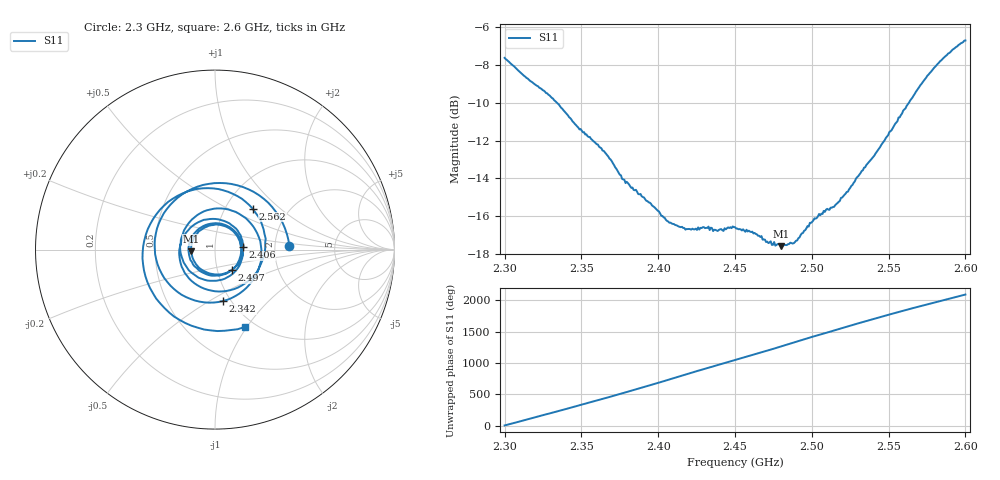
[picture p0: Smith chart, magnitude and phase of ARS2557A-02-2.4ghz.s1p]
! NanoVNA-App
! Date: 2026-05-25 01:54:57
! Start: 2.3GHz Stop: 2.6GHz Points: 401
! S-Parameter data: F S11
# Hz S RI R 50
!  Frequency  S11_Real  S11_Imag
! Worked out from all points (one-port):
!   401 points, 2.3 GHz to 2.6 GHz, reference 50 ohm
!   lowest |S11| = -17.6 dB at 2.48 GHz (marker M1), VSWR 1.30, Z = 38.4 - j0.668 ohm
!   |S11| at or under -10 dB: 2.334 GHz to 2.563 GHz (229.3 MHz wide, 9.36 % of centre)
!   S11 on the Smith chart (normalised r, x): 2.3 GHz: 2.42, +0.11; 2.342 GHz: 0.92, -0.57; 2.406 GHz: 1.36, +0.04; 2.497 GHz: 1.17, -0.27; 2.562 GHz: 1.34, +0.68; 2.6 GHz: 0.89, -0.98
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2.3e9  0.415 0.0191
2.31425e9  -0.0352 0.366
2.3255e9  -0.335 0.0607
2.3375e9  -0.1118 -0.2837
2.342e9  0.044 -0.2862
2.35475e9  0.2553 0.0261
2.36525e9  0.055 0.2273
2.375e9  -0.164 0.1213
2.39075e9  -0.0422 -0.1725
2.40575e9  0.1534 0.0131
2.4125e9  0.0851 0.1229
2.42975e9  -0.1481 -0.00509
2.45e9  0.1228 -0.083
2.46575e9  0.031 0.1372
2.48e9  -0.1317 -0.00856
2.4875e9  -0.0653 -0.1171
2.4965e9  0.0935 -0.1138
2.51375e9  0.0512 0.1595
2.525e9  -0.1697 0.0816
2.534e9  -0.1687 -0.1297
2.54375e9  0.0641 -0.2304
2.5535e9  0.2721 -0.0372
2.56175e9  0.2098 0.2284
2.5625e9  0.1909 0.2482
2.57225e9  -0.1548 0.3234
2.58275e9  -0.4031 -0.0147
2.5925e9  -0.1941 -0.3937
2.6e9  0.1652 -0.4314
